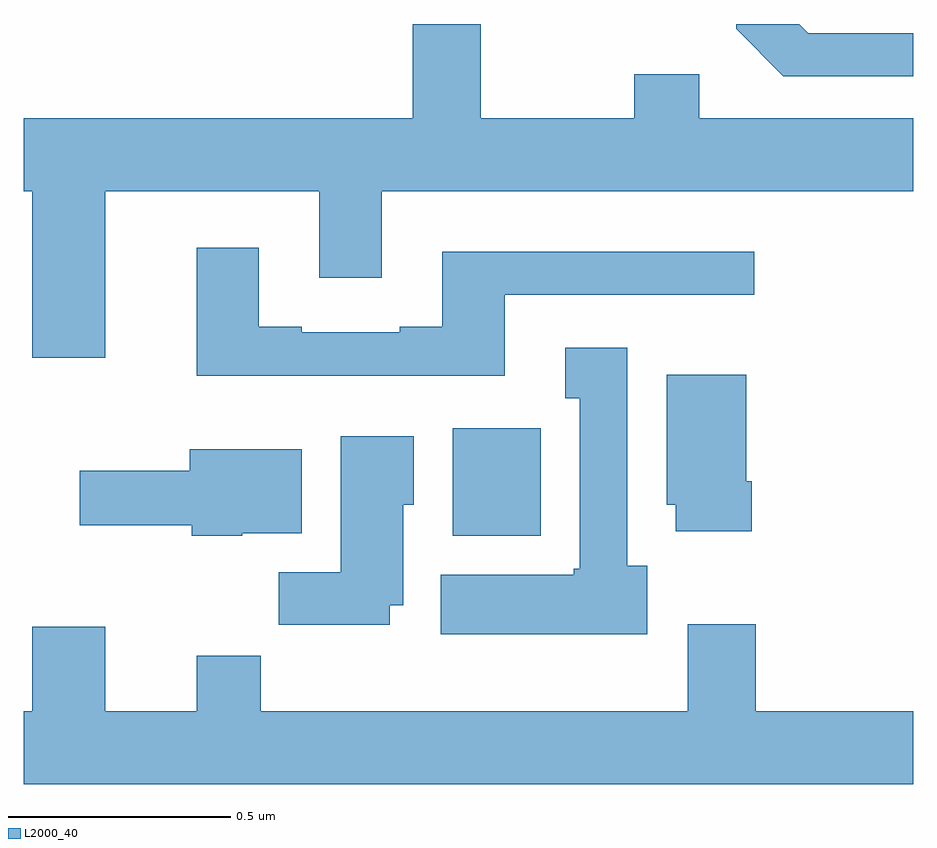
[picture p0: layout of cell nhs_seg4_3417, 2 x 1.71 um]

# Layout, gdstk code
import gdstk
lib = gdstk.Library(unit=1e-6, precision=1e-09)
def R(c, l, rs):  # rectangles x0, y0, x1, y1
    for r in rs: c.add(gdstk.rectangle(r[:2], r[2:], *l))
def P(c, l, *ps):  # polygons
    for p in ps: c.add(gdstk.Polygon(p, *l))
L2000_40 = (2000, 40)

nhs_seg4_3417 = lib.new_cell('nhs_seg4_3417')
R(nhs_seg4_3417, L2000_40, [(153.965,758.75,154.162,758.992)])
P(nhs_seg4_3417, L2000_40, [(153.184,759.524),(153.665,759.524),(153.665,759.33),(153.805,759.33),(153.805,759.524),(155,759.524),(155,759.688),(154.519,759.688),(154.519,759.787),(154.372,759.787),(154.372,759.688),(154.027,759.688),(154.027,759.9),(153.875,759.9),(153.875,759.688),(153,759.688),(153,759.524),(153.02,759.524),(153.02,759.15),(153.184,759.15)],
  [(155,759.879),(154.764,759.879),(154.743,759.9),(154.602,759.9),(154.602,759.889),(154.707,759.783),(155,759.783)],
  [(154.081,759.291),(154.642,759.291),(154.642,759.388),(153.941,759.388),(153.941,759.22),(153.845,759.22),(153.845,759.207),(153.625,759.207),(153.625,759.22),(153.529,759.22),(153.529,759.397),(153.389,759.397),(153.389,759.11),(154.081,759.11)],
  [(154.402,758.682),(154.357,758.682),(154.357,759.172),(154.217,759.172),(154.217,759.059),(154.25,759.059),(154.25,758.676),(154.237,758.676),(154.237,758.662),(153.938,758.662),(153.938,758.528),(154.402,758.528)],
  [(154.637,758.872),(154.624,758.872),(154.624,759.112),(154.445,759.112),(154.445,758.82),(154.466,758.82),(154.466,758.76),(154.637,758.76)],
  [(153.823,758.594),(153.853,758.594),(153.853,758.82),(153.877,758.82),(153.877,758.974),(153.713,758.974),(153.713,758.668),(153.574,758.668),(153.574,758.55),(153.823,758.55)],
  [(153.492,758.756),(153.625,758.756),(153.625,758.944),(153.374,758.944),(153.374,758.896),(153.126,758.896),(153.126,758.774),(153.378,758.774),(153.378,758.75),(153.492,758.75)],
  [(155,758.356),(154.646,758.356),(154.646,758.551),(154.493,758.551),(154.493,758.356),(153.533,758.356),(153.533,758.48),(153.389,758.48),(153.389,758.356),(153.184,758.356),(153.184,758.545),(153.02,758.545),(153.02,758.356),(153,758.356),(153,758.192),(155,758.192)])

lib.write_gds('nhs_seg4_3417.gds')
